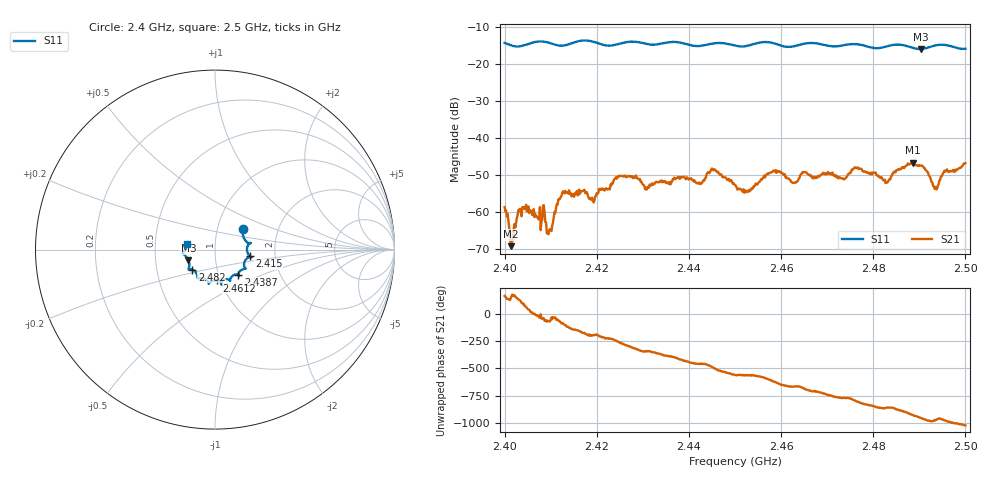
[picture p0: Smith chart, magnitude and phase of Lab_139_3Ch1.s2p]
# Hz S RI R 50
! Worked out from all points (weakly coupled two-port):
!   601 points, 2.4 GHz to 2.5 GHz, reference 50 ohm
!   highest |S21| = -46.64 dB at 2.4887 GHz (marker M1); lowest = -69.2 dB at 2.4013 GHz (marker M2)
!   lowest |S11| = -15.9 dB at 2.4903 GHz (marker M3), VSWR 1.38, Z = 36.8 - j4.45 ohm
!   |S11| at or under -10 dB: start of sweep to end of sweep
!   S12 and S22 are empty: the file has one direction only
!   S11 on the Smith chart (normalised r, x): 2.4 GHz: 1.33, +0.31; 2.415 GHz: 1.47, -0.11; 2.4387 GHz: 1.24, -0.36; 2.4612 GHz: 0.96, -0.34; 2.482 GHz: 0.76, -0.17; 2.5 GHz: 0.72, +0.05
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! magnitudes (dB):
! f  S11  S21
! 2.4 GHz  -14.3  -58.6
! 2.4013 GHz  -14.9  -69.2
! 2.4043 GHz  -14.9  -58.6
! 2.4085 GHz  -13.9  -58.1
! 2.4097 GHz  -14.2  -64.9
! 2.4122 GHz  -15.0  -55.9
! 2.415 GHz  -14.2  -55.8
! 2.4167 GHz  -13.6  -54.4
! 2.4192 GHz  -13.9  -56.9
! 2.425 GHz  -14.4  -50.2
! 2.4333 GHz  -14.6  -51.9
! 2.4387 GHz  -14.3  -50.5
! 2.4453 GHz  -14.4  -48.7
! 2.45 GHz  -15.0  -52.6
! 2.4612 GHz  -15.3  -50.6
! 2.4667 GHz  -14.3  -50.3
! 2.482 GHz  -15.5  -51.1
! 2.4833 GHz  -15.1  -51.4
! 2.4887 GHz  -15.6  -46.6
! 2.4903 GHz  -15.9  -47.5
! 2.4935 GHz  -14.9  -53.3
! 2.5 GHz  -15.8  -46.8
